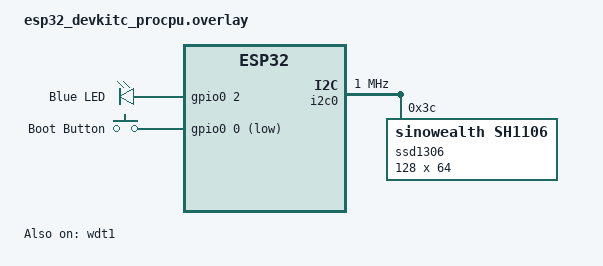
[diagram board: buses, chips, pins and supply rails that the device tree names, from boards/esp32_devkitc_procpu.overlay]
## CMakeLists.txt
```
# SPDX-License-Identifier: Apache-2.0

# Define the minimum CMake version required by the Zephyr SDK
cmake_minimum_required(VERSION 3.20.0)

set(ESP_FLASH_BEFORE default_reset)
set(ESP_FLASH_AFTER hard_reset)

# Locate and load the Zephyr build system package
find_package(Zephyr REQUIRED HINTS $ENV{ZEPHYR_BASE})

# Define the project name
project(Wake-On-Lan_ESP32C3_Zephyr)

# Source File Discovery: Automatically gathers all '.c' files in 'src'.
# This allows for a modular project structure without manual file listing.
FILE(GLOB app_sources src/*.c)

# Application Target: Links the discovered source files.
target_sources(app PRIVATE ${app_sources})

# Include Directory Mapping: Tells the compiler where to look for .h files.
# This enables the use of #include "filename.h" for files inside 'inc'.
target_include_directories(app PRIVATE inc)
```

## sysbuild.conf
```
# Tamanho do MCUboot bootloader: 128KB (0x20000)
# Deve coincidir com o slot0_partition address no overlay
SB_CONFIG_BOOTLOADER_MCUBOOT=y
SB_CONFIG_MCUBOOT_MODE_OVERWRITE_ONLY=y
```

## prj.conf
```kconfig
# --- General ---
CONFIG_EVENTS=y
CONFIG_THREAD_NAME=y
CONFIG_REBOOT=y
CONFIG_WATCHDOG=y

# --- Networking ---
CONFIG_NETWORKING=y
CONFIG_NET_IPV4=y
CONFIG_NET_UDP=y
CONFIG_NET_TCP=y
CONFIG_NET_SOCKETS=y
CONFIG_NET_MAX_CONN=10
CONFIG_NET_MAX_CONTEXTS=10
CONFIG_NET_L2_WIFI_MGMT=y
CONFIG_NET_MGMT=y
CONFIG_NET_MGMT_EVENT=y
CONFIG_NET_IPV4_AUTO=n
CONFIG_NET_DHCPV4=y

# --- Wi-Fi ---
CONFIG_WIFI=y
CONFIG_WIFI_ESP32=y
CONFIG_WIFI_INIT_PRIORITY=60

# --- Storage (NVS Flash) ---
CONFIG_FLASH=y
CONFIG_FLASH_MAP=y
CONFIG_NVS=y
CONFIG_FLASH_PAGE_LAYOUT=y

# --- Hardware ---
CONFIG_GPIO=y
CONFIG_I2C=y
CONFIG_DISPLAY=y
CONFIG_SSD1306=y
CONFIG_CHARACTER_FRAMEBUFFER=y

# --- HEAD / STACK ---
CONFIG_LOG_BUFFER_SIZE=1024
CONFIG_LOG_PROCESS_THREAD_STACK_SIZE=1536
CONFIG_NET_MGMT_EVENT_STACK_SIZE=1024
CONFIG_NET_TCP_WORKQ_STACK_SIZE=512
CONFIG_MAIN_STACK_SIZE=4096
CONFIG_SYSTEM_WORKQUEUE_STACK_SIZE=2048
CONFIG_HEAP_MEM_POOL_SIZE=65536
CONFIG_ISR_STACK_SIZE=32768
CONFIG_NET_RX_STACK_SIZE=4096
CONFIG_NET_TX_STACK_SIZE=4096

# --- DEBUG ---
CONFIG_LOG=y
#CONFIG_CONSOLE=n
#CONFIG_UART_CONSOLE=n
CONFIG_THREAD_ANALYZER=y
CONFIG_THREAD_ANALYZER_AUTO=y
CONFIG_THREAD_ANALYZER_AUTO_INTERVAL=30
```

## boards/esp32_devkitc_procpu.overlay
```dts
#include <zephyr/dt-bindings/i2c/i2c.h>
#include <zephyr/dt-bindings/input/input-event-codes.h>

/ {
	/* Manter os Aliases idênticos ao código C */
	aliases {
		sw0 = &user_button;
		led0 = &blue_led;
	};

	chosen {
		zephyr,display = &ssd1306;
		zephyr,flash-controller = &flash;
	};

	cpus {
		#address-cells = <1>;
		#size-cells = <0>;

		cpu0: cpu@0 {
			device_type = "cpu";
			compatible = "espressif,xtensa-lx6";
			reg = <0>;
			clock-frequency = <240000000>;
		};

		cpu1: cpu@1 {
			device_type = "cpu";
			compatible = "espressif,xtensa-lx6";
			reg = <1>;
			clock-frequency = <240000000>;
		};
	};

	clock: clock {
		compatible = "espressif,esp32-clock";
		status = "okay";
		#clock-cells = <1>;
		fast-clk-src = <1>; 
		slow-clk-src = <0>;
	};

	leds {
		compatible = "gpio-leds";
		
		blue_led: led_0 {
			gpios = <&gpio0 2 GPIO_ACTIVE_HIGH>;
			label = "Blue LED";
		};
	};

	buttons {
		compatible = "gpio-keys";
		user_button: button_0 {
			gpios = <&gpio0 0 (GPIO_PULL_UP | GPIO_ACTIVE_LOW)>;
			label = "Boot Button";
		};
	};
};

&gpio0 { status = "okay"; };
&gpio1 { status = "okay"; };
&wdt1 { status = "okay"; };

&i2c0 {
	status = "okay";
	clock-frequency = <I2C_BITRATE_FAST_PLUS>;
	pinctrl-0 = <&i2c0_default>;
	pinctrl-names = "default";

	ssd1306: ssd1306@3c {
		compatible = "sinowealth,sh1106";
		reg = <0x3c>;
		width = <128>;
		height = <64>;
		segment-offset = <2>;
		page-offset = <0>;
		display-offset = <0>;
		multiplex-ratio = <63>;
		prechargep = <0xf1>;
		ready-time-ms = <10>;
		segment-remap;
		com-invdir;
	};
};

&pinctrl {
	i2c0_default: i2c0_default {
		group1 {
			pinmux = <I2C0_SDA_GPIO21>, <I2C0_SCL_GPIO22>;
			bias-pull-up;
			drive-open-drain;
			output-high;
		};
	};
};

&flash0 {
	partitions {
		compatible = "fixed-partitions";
		#address-cells = <1>;
		#size-cells = <1>;

		nvs_storage: partition@3f0000 {
			label = "nvs_storage";
			reg = <0x3f0000 0x00010000>;
		};
	};
};
```

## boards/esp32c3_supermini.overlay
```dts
#include <zephyr/dt-bindings/i2c/i2c.h>

/ {
	#address-cells = <1>;
	#size-cells = <1>;

	chosen {
		zephyr,display = &ssd1306;
		zephyr,flash-controller = &flash;
		zephyr,code-partition = &slot0_partition;
		zephyr,storage = &storage_partition;
	};

	cpus {
		cpu0: cpu@0 {
			device_type = "cpu";
			compatible = "espressif,riscv";
			reg = <0>;
			clock-frequency = <160000000>;
			xtal-freq = <40000000>;
		};
	};

	clock: clock {
		compatible = "espressif,esp32-clock";
		status = "okay";
		#clock-cells = <1>;
		fast-clk-src = <1>; 
		slow-clk-src = <0>;
	};
	
	aliases {
		sw0 = &user_button;
	};

	leds {
		compatible = "gpio-leds";
		
		blue_led: led_0 {
			gpios = <&gpio0 8 GPIO_ACTIVE_LOW>;
			label = "Blue LED";
		};
	};

	buttons {
		compatible = "gpio-keys";
		user_button: button_0 {
			gpios = <&gpio0 9 (GPIO_PULL_UP | GPIO_ACTIVE_LOW)>;
			label = "Boot Button";
		};
	};
};

&wdt1 {
    status = "okay";
};

&i2c0 {
	status = "okay";
	clock-frequency = <I2C_BITRATE_STANDARD>;

	ssd1306: ssd1306@3c {
		compatible = "solomon,ssd1306fb";
		status = "okay";
		reg = <0x3c>;
		width = <72>;
		height = <40>;
		segment-offset = <28>;
		page-offset = <0>;
		display-offset = <0>;
		multiplex-ratio = <39>;
		segment-remap;
		com-invdir;
		prechargep = <0x22>;
	};
};

&pinctrl {
	i2c0_default: i2c0_default {
		group1 {
			pinmux = <I2C0_SDA_GPIO5>, <I2C0_SCL_GPIO6>;
			bias-pull-up;
			drive-open-drain;
			output-high;
		};
	};
};
```

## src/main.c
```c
#include <zephyr/kernel.h>
#include <zephyr/drivers/watchdog.h>
#include <zephyr/sys/reboot.h>
#include <zephyr/dfu/mcuboot.h>
#include <stdio.h>

#include "storage.h"
#include "notify.h"
#include "button.h"
#include "wifi.h"
#include "portal.h"
#include "display.h"

#define FACTORY_RESET_THRESHOLD     5000
#define WDT_TIMEOUT_MS              3000

int main(void) {
    k_msleep(1000);

    /*
     * Confirmação de boot MCUboot.
     * Se este boot foi resultado de um OTA, confirma que o novo firmware
     * arrancou com sucesso — impede o rollback automático para a versão anterior.
     * Se não foi um boot pós-OTA, esta chamada é um no-op seguro.
     */
    boot_write_img_confirmed();

    const struct device *wdt_dev = DEVICE_DT_GET(DT_NODELABEL(wdt1));
    char ssid[32], pass[64], mac[18], pc_ip[INET_ADDRSTRLEN];
    int rc;

    /* 1. Hardware and Subsystem Initialization */
    storage_init();
    notify_init();
    button_init();

    int wdt_channel = -1;
    if (device_is_ready(wdt_dev)) {
        struct wdt_timeout_cfg wdt_config = {
            .window.max = WDT_TIMEOUT_MS,
            .flags      = WDT_FLAG_RESET_SOC
        };
        wdt_channel = wdt_install_timeout(wdt_dev, &wdt_config);
        wdt_setup(wdt_dev, WDT_OPT_PAUSE_HALTED_BY_DBG);
    }

    printf("\n--- Wake-on-LAN ESP32-C3 SuperMini ---\n");

    /* 2. Flow Decision */
    rc = storage_read_config(ssid, pass, mac, pc_ip);

    if (rc == 0 && strlen(ssid) > 0 && strlen(mac) == 17) {
        printf("[SYSTEM] Config loaded. Starting Station mode...\n");
        k_msleep(2000);
        wifi_init_and_connect(ssid, pass, mac, pc_ip);
    } else {
        if (rc == 0) {
            printf("[SYSTEM] Invalid config in Flash. Clearing...\n");
            storage_clear_all();
        }
        printf("[SYSTEM] Starting Captive Portal...\n");
        start_portal();
    }

    /* Alimenta o WDT uma vez após display+wifi inicializados */
    if (wdt_channel >= 0) wdt_feed(wdt_dev, wdt_channel);

    while (1) {
        if (!has_ip) {
            /* Factory Reset enquanto aguarda ligação Wi-Fi */
            if (button_is_pressed()) {
                printf("[SYSTEM] FACTORY RESET ACTIVATED!\n");
                storage_clear_all();
                notify_event(NOTIFY_WOL_SENT);
                k_msleep(1000);
                sys_reboot(SYS_REBOOT_COLD);
            }
        }

        /* Só alimenta o WDT se o display arrancou com sucesso.
           Se display_ready == false o WDT expira em ~3s e reinicia. */
        if (display_ready) {
            if (wdt_channel >= 0) wdt_feed(wdt_dev, wdt_channel);
        }

        k_msleep(1500);
    }

    return 0;
}
```

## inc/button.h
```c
#ifndef BUTTON_H
#define BUTTON_H

/**
 * @brief Initializes the BOOT button GPIO and its interrupts.
 */
void button_init(void);

#endif /* BUTTON_H */
```

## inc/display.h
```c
#ifndef DISPLAY_H
#define DISPLAY_H

#include <zephyr/kernel.h>
#include <zephyr/device.h>
#include <zephyr/drivers/display.h>
#include <zephyr/display/cfb.h>
#include <zephyr/net/net_ip.h>
#include <stdio.h>
#include <string.h>
#include <stdbool.h>
#include <zephyr/sys/reboot.h>
 
/* Semáforo para arrancar a thread do display (dado por wifi.c / portal.c) */
extern struct k_sem sem_display_start;
 
/* Semáforo de confirmação: display inicializado com sucesso (dado por display.c) */
extern struct k_sem sem_display_ready;
 
/* Semáforo para forçar refresh imediato do display */
extern struct k_sem sem_ui_refresh;
 
/* true = display inicializou com sucesso
   false = falhou — main.c para de alimentar o WDT e o sistema reinicia */
extern bool display_ready;
 
extern bool display_station_ready;
extern bool has_ip;
 
/* State flags */
extern bool display_ap_mode;
extern bool display_wifi_ready;
 
#endif /* DISPLAY_H */
 
```

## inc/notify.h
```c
#ifndef NOTIFY_H
#define NOTIFY_H

#include <zephyr/kernel.h>
#include <zephyr/drivers/gpio.h>

/* Notification types */
typedef enum {
    NOTIFY_WOL_SENT,   /* 2 Blinks (500ms ON) */
    NOTIFY_PING_UPDATE /* 1 Blink  (500ms ON) */
} notify_type_t;

/**
 * @brief Initialize GPIO for the Blue LED and Display synchronization.
 */
void notify_init(void);

/**
 * @brief Trigger a visual notification (LED + Display Signal).
 * @param type The event type (WOL or PING).
 */
void notify_event(notify_type_t type);

#endif /* NOTIFY_H */
```

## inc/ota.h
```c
#ifndef OTA_H
#define OTA_H

#include <zephyr/kernel.h>
#include <stdbool.h>

/* Versão atual do firmware — alterar a cada build antes de gerar o .bin */
#define FIRMWARE_VERSION "1.0.0"

/* URLs do GitHub (raw) para verificar e descarregar o firmware */
#define OTA_GITHUB_HOST    "raw.githubusercontent.com"
#define OTA_GITHUB_PORT    443
#define OTA_INDEX_URL      "/sergio-isidoro/Wake-On-Lan_ESP32C3_Zephyr/main/OTA/latest.txt"
#define OTA_BIN_URL_PREFIX "/sergio-isidoro/Wake-On-Lan_ESP32C3_Zephyr/main/OTA/"

/**
 * @brief Verifica se existe uma versão mais recente no GitHub e,
 *        se sim, descarrega e instala automaticamente.
 *        Chama sys_reboot() no final se a atualização for bem sucedida.
 */
void ota_check_and_update(void);

#endif /* OTA_H */
```

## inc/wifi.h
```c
#ifndef WIFI_H
#define WIFI_H

#include <zephyr/kernel.h>
#include <zephyr/net/net_if.h>
#include <zephyr/net/net_mgmt.h>
#include <zephyr/net/wifi.h>
#include <zephyr/net/wifi_mgmt.h>
#include <zephyr/net/net_core.h>
#include <zephyr/net/net_ip.h>
#include <zephyr/net/socket.h>
#include <zephyr/net/icmp.h>
#include <stdio.h>
#include <string.h>

extern struct k_sem sem_ui_refresh;
extern char global_ip_str[INET_ADDRSTRLEN];
extern bool last_known_state;

/**
 * @brief Initializes network event callbacks, the WoL worker, and requests Wi-Fi connection.
 */
void wifi_init_and_connect(void);

/**
 * @brief Triggers the Wake-on-LAN Magic Packet transmission.
 */
void trigger_wol(void);

#endif /* WIFI_H */
```

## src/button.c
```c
#include "button.h"
#include "wifi.h"
#include <zephyr/kernel.h>
#include <zephyr/device.h>
#include <zephyr/drivers/gpio.h>
#include <stdio.h>

static const struct gpio_dt_spec button = GPIO_DT_SPEC_GET(DT_ALIAS(sw0), gpios);
static struct gpio_callback button_cb_data;

static void button_pressed(const struct device *dev, struct gpio_callback *cb, uint32_t pins) {
    printf("\nBOOT Button Pressed!\n");
    trigger_wol();
}

void button_init(void) {
    if (!gpio_is_ready_dt(&button)) {
        printf("Error: BOOT button GPIO is not ready.\n");
        return;
    }

    gpio_pin_configure_dt(&button, GPIO_INPUT);
    gpio_pin_interrupt_configure_dt(&button, GPIO_INT_EDGE_TO_ACTIVE);
    gpio_init_callback(&button_cb_data, button_pressed, BIT(button.pin));
    gpio_add_callback(button.port, &button_cb_data);
}
```

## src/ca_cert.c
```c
#include <zephyr/kernel.h>
#include <zephyr/net/tls_credentials.h>

/*
 * Certificado raiz usado pelo GitHub (raw.githubusercontent.com):
 * DigiCert Global Root CA
 *
 * Para atualizar:
 *   openssl s_client -connect raw.githubusercontent.com:443 -showcerts 2>/dev/null \
 *     | openssl x509 -noout -text
 * e substituir pelo certificado raiz da cadeia.
 *
 * Validade: até 2031-11-10
 */
static const unsigned char github_root_ca[] =
"-----BEGIN CERTIFICATE-----\n"
"MIIDrzCCApegAwIBAgIQCDvgVpBCRrGhdWrJWZHHSjANBgkqhkiG9w0BAQUFADBh\n"
"MQswCQYDVQQGEwJVUzEVMBMGA1UEChMMRGlnaUNlcnQgSW5jMRkwFwYDVQQLExB3\n"
"d3cuZGlnaWNlcnQuY29tMSAwHgYDVQQDExdEaWdpQ2VydCBHbG9iYWwgUm9vdCBD\n"
"QTAeFw0wNjExMTAwMDAwMDBaFw0zMTExMTAwMDAwMDBaMGExCzAJBgNVBAYTAlVT\n"
"MRUwEwYDVQQKEwxEaWdpQ2VydCBJbmMxGTAXBgNVBAsTEHd3dy5kaWdpY2VydC5j\n"
"b20xIDAeBgNVBAMTF0RpZ2lDZXJ0IEdsb2JhbCBSb290IENBMIIBIjANBgkqhkiG\n"
"9w0BAQEFAAOCAQ8AMIIBCgKCAQEA4jvhEXLeqKTTo1eqUKKPC3eQyaKl7hLOllsB\n"
"CSDMAZOnTjC3U/dDxGkAV53ijSLdhwZAAIEJzs4bg7/fzTtxRuLWZscFs3YnFo97\n"
"nh6Vfe63SKMI2tavegw5BmV/Sl0fvBf4q77uKNd0f3p4mVmFaG5cIzJLv07A6Fpt\n"
"43C/dxC//AH2hdmoRBBYMql1GNXRor5H4idq9Joz+EkIYIvUX7Q6hL+hqkpMfT7P\n"
"T19sdl6gSzeRntwi5m3OFBqOasv+zbMUZBfHWymeMr/y7vrTC0LUq7dBMtoM1O/4\n"
"gdW7jVg/tRvoSSiicNoxBN33shbyTApOB6jtSj1etX+jkMOvJwIDAQABo2YwZDAS\n"
"BgNVHRMBAf8ECDAGAQH/AgEAMA4GA1UdDwEB/wQEAwIBhjAdBgNVHQ4EFgQUA95Q\n"
"NVbRTLtm8KPiGxvDl7I90VUwHwYDVR0jBBgwFoAUA95QNVbRTLtm8KPiGxvDl7I9\n"
"0VUwDQYJKoZIhvcNAQEFBQADggEBAMucN6pIExIK+t1EnE9SsPTfrgT1eXkIoyQY\n"
"/EsrhMAtudXH/vTBH1jLuG2cenTnmCmrEbXjcKChzUyImZOMkXDiqw8cvpOp/2PV\n"
"5Adg06O/nVsJ8dWO41P0jmP6P6fbtGbfYmbW0W5BjfIttep3Sp+dWOIrWcBAI+0t\n"
"KIJFPnlUkiaY4IBIqDfv8NZ5YBberOgOzW6sRBc4L0na4UU+Krk2U886UAb3LujE\n"
"V0lsMkpE/1+2V8pO04LFqAi9KFBGSmINhxkB6LMdNRsA4o/cFAVFiZKOPMlCEPMo\n"
"hGAEGBFEiPEMSpnQB56GF6GvmFaMfVpakEa5DHkRRCE=\n"
"-----END CERTIFICATE-----\n";

/*
 * Regista o certificado no arranque, antes do Wi-Fi inicializar.
 * Tag 1 corresponde ao tls_tag usado em ota.c.
 */
static int register_github_cert(void) {
    return tls_credential_add(1, TLS_CREDENTIAL_CA_CERTIFICATE,
                              github_root_ca, sizeof(github_root_ca));
}

SYS_INIT(register_github_cert, APPLICATION, CONFIG_APPLICATION_INIT_PRIORITY);
```

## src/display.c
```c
#include "display.h"
#include "wifi.h"

bool display_ap_mode        = false;
bool display_wifi_ready     = false;
bool display_station_ready  = false;
bool has_ip                 = false;

K_MUTEX_DEFINE(display_mutex);
K_SEM_DEFINE(sem_ui_refresh,    0, 1);
K_SEM_DEFINE(sem_display_start, 0, 1);

void display_task_entry(void *p1, void *p2, void *p3) {

    k_sem_take(&sem_display_start, K_FOREVER);

    const struct device *disp = DEVICE_DT_GET(DT_CHOSEN(zephyr_display));

    int retries = 30;
    while (!device_is_ready(disp) && retries-- > 0) {
        k_msleep(100);
    }

    /* ---- STATION MODE: normal loop ---- */
    static char prev_ip[INET_ADDRSTRLEN] = "";
    uint8_t anim_state = 0;

    k_mutex_lock(&display_mutex, K_FOREVER);

        int rc = cfb_framebuffer_init(disp);
        if (rc) {
            printk("[DISPLAY] cfb_framebuffer_init failed: %d\n", rc);
            k_mutex_unlock(&display_mutex);

            return;
        }
        cfb_framebuffer_set_font(disp, 0);
        cfb_framebuffer_invert(disp);

        uint16_t screen_w = cfb_get_display_parameter(disp, CFB_DISPLAY_WIDTH);
        uint8_t f_w, f_h;
        cfb_get_font_size(disp, 0, &f_w, &f_h);

        /* Clear screen before turning display on — avoids showing leftover pixels */
        cfb_framebuffer_clear(disp, false);
        cfb_framebuffer_finalize(disp);
        display_blanking_off(disp);

    k_mutex_unlock(&display_mutex);

    /* ---- AP MODE: static screen ---- */
    if (display_ap_mode) {
        k_mutex_lock(&display_mutex, K_FOREVER);

            const char *line1 = "WOL_ESP";
            const char *line2 = "192.168";
            const char *line3 = ".4.1";

            int x1 = (screen_w - (strlen(line1) * f_w)) / 2;
            int x2 = (screen_w - (strlen(line2) * f_w)) / 2;
            int x3 = (screen_w - (strlen(line3) * f_w)) / 2;

            cfb_print(disp, line1, (x1 < 0) ? 0 : x1, -2);
            cfb_print(disp, line2, (x2 < 0) ? 0 : x2, 13);
            cfb_print(disp, line3, (x3 < 0) ? 0 : x3, 26);

            cfb_framebuffer_finalize(disp);
        k_mutex_unlock(&display_mutex);

        display_wifi_ready = true;                              /* Signal that the display is initialized */

        while (1) { k_sem_take(&sem_ui_refresh, K_FOREVER); }
    }

    while (1) {
        k_sem_take(&sem_ui_refresh, K_MSEC(25));                /* Limit refresh rate to 40 FPS */

        k_mutex_lock(&display_mutex, K_FOREVER);

            /* ANIMATION */
            const char *arrows[] = {
                ">      ", ">>     ", ">>>    ", ">>>>   ",
                ">>>>>  ", ">>>>>> ", ">>>>>>>", " >>>>>>",
                "  >>>>>", "   >>>>", "    >>>", "     >>", "      >"
            };
            int anim_w = 7 * f_w;
            int anim_x = (screen_w - anim_w) / 2;
            cfb_print(disp, "                ", anim_x, 0);
            cfb_print(disp, arrows[anim_state], anim_x, 0);
            anim_state = (anim_state + 1) % 13;

            /* IP ADDRESS (or "Waiting" if not connected yet) */
            has_ip = (strlen(global_ip_str) > 0 && strcmp(global_ip_str, "0.0.0.0") != 0);

            if (!has_ip) {
                /* No IP yet */
                cfb_print(disp, "                ", 0, 12);
                cfb_print(disp, "Waiting", (screen_w - (7 * f_w)) / 2, 12);
                cfb_print(disp, "                ", 0, 26);
                cfb_print(disp, "WIFI", (screen_w - (4 * f_w)) / 2, 26);
                prev_ip[0] = '\0';                                              /* reset so IP re-renders when it arrives */

            } else {
                /* Connected */
                char *short_ip = global_ip_str;
                int dots = 0;
                for (char *p = global_ip_str; *p != '\0'; p++) {
                    if (*p == '.') {
                        dots++;
                        if (dots == 2) { short_ip = p + 1; break; }
                    }
                }

                if (strcmp(short_ip, prev_ip) != 0 || strlen(prev_ip) == 0) {
                    cfb_print(disp, "                ", 0, 12);
                    int ip_x = (screen_w - (strlen(short_ip) * f_w)) / 2;
                    cfb_print(disp, short_ip, (ip_x < 0) ? 0 : ip_x, 12);
                    strncpy(prev_ip, short_ip, sizeof(prev_ip) - 1);
                    prev_ip[sizeof(prev_ip) - 1] = '\0';
                } else {
                    int ip_x = (screen_w - (strlen(prev_ip) * f_w)) / 2;
                    cfb_print(disp, prev_ip, (ip_x < 0) ? 0 : ip_x, 12);
                }

                /* TARGET PC IP */
                char *short_target = target_pc_ip;
                int tdots = 0;
                for (char *p = target_pc_ip; *p != '\0'; p++) {
                    if (*p == '.') {
                        tdots++;
                        if (tdots == 2) { short_target = p + 1; break; }
                    }
                }

                char target_line[20] = "";
                if (last_known_state) {
                    snprintf(target_line, sizeof(target_line), "* %s", short_target);   /* "*" indicates known target IP */
                } else {
                    snprintf(target_line, sizeof(target_line), "x %s", short_target);   /* "x" indicates no known target IP yet */
                }

                int tgt_x = (screen_w - (strlen(target_line) * f_w)) / 2;
                cfb_print(disp, "                ", 0, 26);
                cfb_print(disp, target_line, (tgt_x < 0) ? 0 : tgt_x, 26);
            }

            cfb_framebuffer_finalize(disp);
            
        k_mutex_unlock(&display_mutex);
    }
}

K_THREAD_DEFINE(display_tid, 4096, display_task_entry, NULL, NULL, NULL, 7, 0, 0);
```

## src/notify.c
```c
#include "notify.h"

/* Get LED definition from Devicetree (blue_led must be in your overlay) */
static const struct gpio_dt_spec blue_led = GPIO_DT_SPEC_GET(DT_NODELABEL(blue_led), gpios);

/* External semaphore defined in display.c */
extern struct k_sem sem_ui_refresh;

void notify_init(void) {
    if (!device_is_ready(blue_led.port)) {
        return;
    }
    /* LED is Active Low on SuperMini, ACTIVE_LOW flag in overlay handles it */
    gpio_pin_configure_dt(&blue_led, GPIO_OUTPUT_INACTIVE);
}

void notify_event(notify_type_t type) {
    int blinks = (type == NOTIFY_WOL_SENT) ? 2 : 1;

    /* 1. Signal the Display thread to update immediately */
    k_sem_give(&sem_ui_refresh);

    /* 2. Visual LED Feedback (Blocking the caller thread for the blink duration) */
    for (int i = 0; i < blinks; i++) {
        gpio_pin_set_dt(&blue_led, 1);  /* LED ON */
        k_msleep(500);                  /* Your requested 500ms */
        gpio_pin_set_dt(&blue_led, 0);  /* LED OFF */
        
        if (blinks > 1 && i < (blinks - 1)) {
            k_msleep(200);              /* Gap between blinks */
        }
    }
}
```

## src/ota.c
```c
#include "ota.h"
#include "display.h"

#include <zephyr/kernel.h>
#include <zephyr/net/socket.h>
#include <zephyr/net/tls_credentials.h>
#include <zephyr/net/http/client.h>
#include <zephyr/storage/flash_map.h>
#include <zephyr/dfu/flash_img.h>
#include <zephyr/dfu/mcuboot.h>
#include <zephyr/sys/reboot.h>
#include <string.h>
#include <stdio.h>

/* ------------------------------------------------------------------ */
/*  Internos                                                            */
/* ------------------------------------------------------------------ */

#define OTA_RECV_BUF_SIZE   1024
#define OTA_STACK_SIZE      4096
#define OTA_THREAD_PRIORITY 5
#define OTA_CHECK_INTERVAL  K_HOURS(24)

/* Semáforo para disparar verificação OTA imediata (dado pelo wifi.c) */
K_SEM_DEFINE(sem_ota_trigger, 0, 1);

static char ota_recv_buf[OTA_RECV_BUF_SIZE];

/* ------------------------------------------------------------------ */
/*  Helpers de versão                                                   */
/* ------------------------------------------------------------------ */

/*
 * Compara versões no formato "X.Y.Z".
 * Retorna  1 se remote > local
 * Retorna  0 se igual
 * Retorna -1 se remote < local
 */
static int version_compare(const char *local, const char *remote) {
    int lmaj, lmin, lpat, rmaj, rmin, rpat;
    if (sscanf(local,  "%d.%d.%d", &lmaj, &lmin, &lpat) != 3) return -1;
    if (sscanf(remote, "%d.%d.%d", &rmaj, &rmin, &rpat) != 3) return -1;

    if (rmaj != lmaj) return (rmaj > lmaj) ? 1 : -1;
    if (rmin != lmin) return (rmin > lmin) ? 1 : -1;
    if (rpat != lpat) return (rpat > lpat) ? 1 : -1;
    return 0;
}

/*
 * Extrai a versão do nome do ficheiro: "firmware_1.0.1.bin" → "1.0.1"
 * Devolve true se conseguiu extrair.
 */
static bool extract_version_from_filename(const char *filename,
                                           char *out, size_t out_len) {
    /* Formato esperado: firmware_X.Y.Z.bin */
    const char *p = strstr(filename, "firmware_");
    if (!p) return false;
    p += strlen("firmware_");

    const char *end = strstr(p, ".bin");
    if (!end) return false;

    size_t len = (size_t)(end - p);
    if (len == 0 || len >= out_len) return false;

    memcpy(out, p, len);
    out[len] = '\0';
    return true;
}

/* ------------------------------------------------------------------ */
/*  HTTP(S) helpers                                                     */
/* ------------------------------------------------------------------ */

/*
 * Abre socket TCP para OTA_GITHUB_HOST:443.
 * TLS está configurado com CONFIG_NET_SOCKETS_SOCKOPT_TLS e
 * certificado raiz adicionado via TLS credentials (ver prj.conf).
 * Retorna fd >= 0 em caso de sucesso, negativo em erro.
 */
static int ota_connect(void) {
    struct zsock_addrinfo hints = {
        .ai_family   = AF_INET,
        .ai_socktype = SOCK_STREAM,
    };
    struct zsock_addrinfo *res = NULL;
    char port_str[8];
    snprintf(port_str, sizeof(port_str), "%d", OTA_GITHUB_PORT);

    int err = zsock_getaddrinfo(OTA_GITHUB_HOST, port_str, &hints, &res);
    if (err || !res) {
        printk("[OTA] DNS failed: %d\n", err);
        return -1;
    }

    int fd = zsock_socket(res->ai_family, res->ai_socktype, IPPROTO_TLS_1_2);
    if (fd < 0) {
        printk("[OTA] Socket error: %d\n", errno);
        zsock_freeaddrinfo(res);
        return -1;
    }

    /* Verificação TLS do servidor */
    int verify = TLS_PEER_VERIFY_REQUIRED;
    zsock_setsockopt(fd, SOL_TLS, TLS_PEER_VERIFY, &verify, sizeof(verify));

    /* Tag do certificado raiz (definida em prj.conf + cert registado no arranque) */
    sec_tag_t tls_tag = 1;
    zsock_setsockopt(fd, SOL_TLS, TLS_SEC_TAG_LIST, &tls_tag, sizeof(tls_tag));

    /* Hostname para SNI */
    zsock_setsockopt(fd, SOL_TLS, TLS_HOSTNAME,
                     OTA_GITHUB_HOST, strlen(OTA_GITHUB_HOST));

    /* Timeout de receção: 10s */
    struct zsock_timeval tv = { .tv_sec = 10, .tv_usec = 0 };
    zsock_setsockopt(fd, SOL_SOCKET, SO_RCVTIMEO, &tv, sizeof(tv));

    if (zsock_connect(fd, res->ai_addr, res->ai_addrlen) < 0) {
        printk("[OTA] Connect failed: %d\n", errno);
        zsock_close(fd);
        zsock_freeaddrinfo(res);
        return -1;
    }

    zsock_freeaddrinfo(res);
    return fd;
}

/*
 * Envia um GET e devolve ponteiro para o início do corpo HTTP (após \r\n\r\n).
 * Preenche buf com os dados recebidos.
 * Retorna NULL em caso de erro.
 */
static char *ota_http_get(int fd, const char *path, char *buf, size_t buf_len) {
    char req[512];
    int req_len = snprintf(req, sizeof(req),
        "GET %s HTTP/1.1\r\n"
        "Host: %s\r\n"
        "Connection: close\r\n"
        "User-Agent: WOL-ESP32C3/1.0\r\n"
        "\r\n",
        path, OTA_GITHUB_HOST);

    if (zsock_send(fd, req, req_len, 0) < 0) {
        printk("[OTA] Send failed: %d\n", errno);
        return NULL;
    }

    int total = 0;
    while (total < (int)buf_len - 1) {
        int n = zsock_recv(fd, buf + total, buf_len - 1 - total, 0);
        if (n <= 0) break;
        total += n;
    }
    buf[total] = '\0';

    /* Localiza o fim dos headers */
    char *body = strstr(buf, "\r\n\r\n");
    if (!body) return NULL;
    return body + 4;
}

/* ------------------------------------------------------------------ */
/*  Passo 1: verificar versão disponível                               */
/* ------------------------------------------------------------------ */

/*
 * Lê latest.txt do GitHub. Formato do ficheiro:
 *   firmware_1.0.1.bin
 *
 * Preenche remote_version ("1.0.1") e remote_filename ("firmware_1.0.1.bin").
 * Retorna true se encontrou versão mais recente que FIRMWARE_VERSION.
 */
static bool ota_fetch_latest(char *remote_version, size_t rv_len,
                              char *remote_filename, size_t rf_len) {
    int fd = ota_connect();
    if (fd < 0) return false;

    char *body = ota_http_get(fd, OTA_INDEX_URL, ota_recv_buf, sizeof(ota_recv_buf));
    zsock_close(fd);

    if (!body) {
        printk("[OTA] Failed to get latest.txt\n");
        return false;
    }

    /* Remove espaços/newlines do final */
    char *end = body + strlen(body) - 1;
    while (end > body && (*end == '\n' || *end == '\r' || *end == ' ')) {
        *end-- = '\0';
    }

    printk("[OTA] latest.txt: '%s'\n", body);

    /* Copia nome do ficheiro */
    strncpy(remote_filename, body, rf_len - 1);
    remote_filename[rf_len - 1] = '\0';

    /* Extrai versão do nome */
    if (!extract_version_from_filename(remote_filename, remote_version, rv_len)) {
        printk("[OTA] Cannot parse version from '%s'\n", remote_filename);
        return false;
    }

    printk("[OTA] Remote version: %s | Local version: %s\n",
           remote_version, FIRMWARE_VERSION);

    return (version_compare(FIRMWARE_VERSION, remote_version) == 1);
}

/* ------------------------------------------------------------------ */
/*  Passo 2: descarregar e gravar no slot secundário                   */
/* ------------------------------------------------------------------ */

static bool ota_download_and_flash(const char *filename) {
    char url_path[256];
    snprintf(url_path, sizeof(url_path), "%s%s", OTA_BIN_URL_PREFIX, filename);

    printk("[OTA] Downloading: https://%s%s\n", OTA_GITHUB_HOST, url_path);

    /* Abre slot secundário do MCUboot */
    const struct flash_area *fa;
    if (flash_area_open(FIXED_PARTITION_ID(slot1_partition), &fa) != 0) {
        printk("[OTA] Cannot open secondary slot\n");
        return false;
    }

    /* Apaga o slot secundário */
    if (flash_area_erase(fa, 0, fa->fa_size) != 0) {
        printk("[OTA] Erase failed\n");
        flash_area_close(fa);
        return false;
    }

    struct flash_img_context ctx;
    if (flash_img_init_id(&ctx, FIXED_PARTITION_ID(slot1_partition)) != 0) {
        printk("[OTA] flash_img_init failed\n");
        flash_area_close(fa);
        return false;
    }

    /* Download em stream — nova ligação pois a anterior já fechou */
    int fd = ota_connect();
    if (fd < 0) {
        flash_area_close(fa);
        return false;
    }

    /* Envia o pedido GET para o .bin */
    char req[512];
    int req_len = snprintf(req, sizeof(req),
        "GET %s HTTP/1.1\r\n"
        "Host: %s\r\n"
        "Connection: close\r\n"
        "User-Agent: WOL-ESP32C3/1.0\r\n"
        "\r\n",
        url_path, OTA_GITHUB_HOST);
    zsock_send(fd, req, req_len, 0);

    /* Salta headers HTTP */
    bool headers_done = false;
    size_t bytes_written = 0;
    bool success = false;
    int leftover_len = 0;
    char leftover[OTA_RECV_BUF_SIZE];

    while (1) {
        int n = zsock_recv(fd, ota_recv_buf, sizeof(ota_recv_buf) - 1, 0);
        if (n <= 0) break;
        ota_recv_buf[n] = '\0';

        const char *data = ota_recv_buf;
        int data_len = n;

        if (!headers_done) {
            /* Procura \r\n\r\n neste chunk (pode estar dividido) */
            char combined[OTA_RECV_BUF_SIZE * 2];
            int combined_len = leftover_len + n;
            memcpy(combined, leftover, leftover_len);
            memcpy(combined + leftover_len, ota_recv_buf, n);
            combined[combined_len] = '\0';

            char *body_start = strstr(combined, "\r\n\r\n");
            if (body_start) {
                headers_done = true;
                body_start += 4;
                data = body_start;
                data_len = combined_len - (int)(body_start - combined);
            } else {
                /* Guarda para combinar com o próximo chunk */
                int keep = (combined_len > (int)sizeof(leftover) - 1)
                           ? (int)sizeof(leftover) - 1 : combined_len;
                memcpy(leftover, combined + combined_len - keep, keep);
                leftover_len = keep;
                continue;
            }
        }

        if (data_len > 0) {
            if (flash_img_buffered_write(&ctx, (const uint8_t *)data,
                                         data_len, false) != 0) {
                printk("[OTA] Flash write error at byte %zu\n", bytes_written);
                goto done;
            }
            bytes_written += data_len;

            if ((bytes_written % (64 * 1024)) == 0) {
                printk("[OTA] Written %zu KB...\n", bytes_written / 1024);
            }
        }
    }

    /* Flush final */
    if (flash_img_buffered_write(&ctx, NULL, 0, true) != 0) {
        printk("[OTA] Final flush error\n");
        goto done;
    }

    printk("[OTA] Download complete: %zu bytes written\n", bytes_written);
    success = (bytes_written > 0);

done:
    zsock_close(fd);
    flash_area_close(fa);
    return success;
}

/* ------------------------------------------------------------------ */
/*  Passo 3: solicitar swap ao MCUboot e reiniciar                     */
/* ------------------------------------------------------------------ */

static void ota_apply(void) {
    printk("[OTA] Requesting MCUboot upgrade...\n");

    if (boot_request_upgrade(BOOT_UPGRADE_PERMANENT) != 0) {
        printk("[OTA] boot_request_upgrade failed!\n");
        return;
    }

    printk("[OTA] Rebooting to apply update...\n");
    k_msleep(500);
    sys_reboot(SYS_REBOOT_COLD);
}

/* ------------------------------------------------------------------ */
/*  Função pública — chamada pelo wifi.c após ligar                    */
/* ------------------------------------------------------------------ */

void ota_check_and_update(void) {
    char remote_version[16];
    char remote_filename[64];

    printk("[OTA] Checking for updates (local: %s)...\n", FIRMWARE_VERSION);

    if (!ota_fetch_latest(remote_version, sizeof(remote_version),
                          remote_filename, sizeof(remote_filename))) {
        printk("[OTA] No update available or check failed.\n");
        return;
    }

    printk("[OTA] New version found: %s — starting download.\n", remote_version);

    if (!ota_download_and_flash(remote_filename)) {
        printk("[OTA] Download/flash failed — aborting.\n");
        return;
    }

    ota_apply();
    /* nunca chega aqui se bem sucedido */
}

/* ------------------------------------------------------------------ */
/*  Thread OTA — verifica logo ao arranque e depois 1x por dia        */
/* ------------------------------------------------------------------ */

static void ota_thread_entry(void *p1, void *p2, void *p3) {
    /* Aguarda o sinal do wifi.c (IP obtido) */
    k_sem_take(&sem_ota_trigger, K_FOREVER);

    while (1) {
        ota_check_and_update();

        /* Aguarda 24h ou novo trigger manual */
        k_sem_take(&sem_ota_trigger, OTA_CHECK_INTERVAL);
    }
}

K_THREAD_DEFINE(ota_tid, OTA_STACK_SIZE,
                ota_thread_entry, NULL, NULL, NULL,
                OTA_THREAD_PRIORITY, 0, 0);
```

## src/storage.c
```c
#include "storage.h"

static struct nvs_fs fs;

/* Usa a storage_partition definida pelo Espressif HAL em 0x3B0000 */
#define STORAGE_NODE DT_NODE_BY_FIXED_PARTITION_LABEL(storage)
#define FLASH_NODE   DT_MTD_FROM_FIXED_PARTITION(STORAGE_NODE)

void storage_init(void) {
    int rc;
    struct flash_pages_info info;
    const struct device *flash_dev = DEVICE_DT_GET(FLASH_NODE);

    if (!device_is_ready(flash_dev)) {
        printk("Error: Flash device not ready\n");
        return;
    }

    fs.flash_device = flash_dev;
    fs.offset = DT_REG_ADDR(STORAGE_NODE);

    rc = flash_get_page_info_by_offs(flash_dev, fs.offset, &info);
    if (rc) {
        printk("Error getting page info (%d)\n", rc);
        return;
    }

    fs.sector_size  = info.size;
    fs.sector_count = 3;

    rc = nvs_mount(&fs);
    if (rc) {
        printk("Error mounting NVS (%d)\n", rc);
    }
}

int storage_write_config(const char *s, const char *p, const char *m, const char *ip) {
    nvs_write(&fs, STORAGE_ID_SSID, s,  strlen(s)  + 1);
    nvs_write(&fs, STORAGE_ID_PASS, p,  strlen(p)  + 1);
    nvs_write(&fs, STORAGE_ID_MAC,  m,  strlen(m)  + 1);
    nvs_write(&fs, STORAGE_ID_IP,   ip, strlen(ip) + 1);
    return 0;
}

int storage_read_config(char *s, char *p, char *m, char *ip) {
    if (nvs_read(&fs, STORAGE_ID_SSID, s, 32) <= 0) return -1;
    nvs_read(&fs, STORAGE_ID_PASS, p,  64);
    nvs_read(&fs, STORAGE_ID_MAC,  m,  18);
    nvs_read(&fs, STORAGE_ID_IP,   ip, INET_ADDRSTRLEN);
    return 0;
}

void storage_clear_all(void) {
    nvs_delete(&fs, STORAGE_ID_SSID);
    nvs_delete(&fs, STORAGE_ID_PASS);
    nvs_delete(&fs, STORAGE_ID_MAC);
    nvs_delete(&fs, STORAGE_ID_IP);
}
```

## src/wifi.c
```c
#include "wifi.h"
#include "notify.h"
#include "storage.h"
#include "ota.h"

#define WOL_PORT    9

extern bool display_wifi_ready;
extern struct k_sem sem_display_start;
extern struct k_sem sem_display_ready;  /* aguarda display inicializado */
extern struct k_sem sem_ota_trigger;    /* dispara verificação OTA */

static bool wifi_connected = false;

/* Variáveis de configuração carregadas da Flash */
static char saved_ssid[32];
static char saved_pass[64];
static char saved_mac_str[18];
static uint8_t target_mac_bin[6];
char target_pc_ip[INET_ADDRSTRLEN] = "255.255.255.255";

/* Variáveis globais para UI/Display */
char global_ip_str[INET_ADDRSTRLEN] = "";
extern struct k_sem sem_ui_refresh;

static struct net_mgmt_event_callback wifi_cb;
static struct net_mgmt_event_callback ipv4_cb;
static struct k_work wol_work;
static struct k_work_delayable reconnect_work;

/* --- PING (ICMP) --- */
static struct net_icmp_ctx ping_ctx;
static struct k_work_delayable ping_work;
static volatile bool target_is_online = false;
bool last_known_state = false;
static bool first_ping_done = false;
static uint16_t ping_seq = 0;
static uint8_t ping_attempts = 0;

/* --- MAC PARSE --- */
static void parse_mac_address(const char *mac_str, uint8_t *mac_bin) {
    for (int i = 0; i < 6; i++) {
        char byte_str[3] = { mac_str[i * 3], mac_str[i * 3 + 1], '\0' };
        mac_bin[i] = (uint8_t)strtol(byte_str, NULL, 16);
    }
}

/* --- RECONNECT --- */
static void reconnect_worker(struct k_work *work) {
    struct net_if *iface = net_if_get_default();
    struct wifi_connect_req_params params = {
        .ssid        = (uint8_t *)saved_ssid,
        .ssid_length = strlen(saved_ssid),
        .psk         = (uint8_t *)saved_pass,
        .psk_length  = strlen(saved_pass),
        .channel     = WIFI_CHANNEL_ANY,
        .security    = WIFI_SECURITY_TYPE_PSK,
        .band        = WIFI_FREQ_BAND_2_4_GHZ,
    };
    printk("[WIFI] Reconnecting to %s...\n", saved_ssid);
    net_mgmt(NET_REQUEST_WIFI_CONNECT, iface, &params, sizeof(params));
}

/* --- WAKE-ON-LAN --- */
static void send_wol_worker(struct k_work *work) {
    if (strlen(global_ip_str) == 0 || strcmp(global_ip_str, "0.0.0.0") == 0) {
        printk("[WOL] No IP — WoL cancelled\n");
        return;
    }

    uint8_t pkt[102];
    struct sockaddr_in dest;

    memset(pkt, 0xFF, 6);
    for (int i = 1; i <= 16; i++) {
        memcpy(&pkt[i * 6], target_mac_bin, 6);
    }

    int sock = zsock_socket(AF_INET, SOCK_DGRAM, IPPROTO_UDP);
    if (sock < 0) {
        printk("[WOL] Error creating socket: %d\n", sock);
        return;
    }

    int opt = 1;
    zsock_setsockopt(sock, SOL_SOCKET, SO_BROADCAST, &opt, sizeof(opt));

    dest.sin_family      = AF_INET;
    dest.sin_port        = htons(WOL_PORT);
    dest.sin_addr.s_addr = INADDR_BROADCAST;

    if (zsock_sendto(sock, pkt, sizeof(pkt), 0,
                     (struct sockaddr *)&dest, sizeof(dest)) > 0) {
        printk("[WIFI] WoL Magic Packet Sent to %s\n", saved_mac_str);
        notify_event(NOTIFY_WOL_SENT);
    } else {
        printk("[WOL] Send error: %d\n", errno);
    }

    zsock_close(sock);
}

void trigger_wol(void) {
    k_work_submit(&wol_work);
}

/* --- PING --- */
static int ping_handler(struct net_icmp_ctx *ctx, struct net_pkt *pkt,
                        struct net_icmp_ip_hdr *ip_hdr, struct net_icmp_hdr *icmp_hdr,
                        void *user_data) {
    target_is_online = true;
    return 0;
}

static void ping_worker_handler(struct k_work *work) {
    if (ping_attempts > 0) {
        if (target_is_online) {
            if (!first_ping_done || !last_known_state) {
                last_known_state = true;
                first_ping_done  = true;
                notify_event(NOTIFY_PING_UPDATE);
            }
            ping_attempts = 0;
            k_work_reschedule(&ping_work, K_MINUTES(1));
            return;
        } else if (ping_attempts >= 3) {
            if (!first_ping_done || last_known_state) {
                last_known_state = false;
                first_ping_done  = true;
                notify_event(NOTIFY_PING_UPDATE);
            }
            ping_attempts = 0;
            k_work_reschedule(&ping_work, K_MINUTES(1));
            return;
        }
    }

    target_is_online = false;
    ping_attempts++;

    struct sockaddr_in dest;
    dest.sin_family = AF_INET;
    zsock_inet_pton(AF_INET, target_pc_ip, &dest.sin_addr);

    struct net_icmp_ping_params params = {
        .identifier = 0x1234,
        .sequence   = ping_seq++,
    };

    net_icmp_send_echo_request(&ping_ctx, net_if_get_default(),
                               (struct sockaddr *)&dest, &params, NULL);
    k_work_reschedule(&ping_work, K_SECONDS(1));
}

/* --- CALLBACKS --- */
static void handle_wifi_events(struct net_mgmt_event_callback *cb,
                                uint64_t mgmt_event, struct net_if *iface) {
    if (mgmt_event == NET_EVENT_WIFI_CONNECT_RESULT) {
        wifi_connected = true;
        printk("[WIFI] Connected!\n");
        net_dhcpv4_start(iface);
    }

    if (mgmt_event == NET_EVENT_WIFI_DISCONNECT_RESULT) {
        if (!wifi_connected) return;
        wifi_connected = false;
        printk("[WIFI] Disconnected — reconnecting in 3s...\n");
        net_dhcpv4_stop(iface);
        last_known_state = false;
        global_ip_str[0] = '\0';
        k_sem_give(&sem_ui_refresh);
        k_work_reschedule(&reconnect_work, K_SECONDS(3));
    }
}

static void handle_ipv4_events(struct net_mgmt_event_callback *cb,
                                uint64_t mgmt_event, struct net_if *iface) {
    if (mgmt_event == NET_EVENT_IPV4_ADDR_ADD) {
        struct net_if_ipv4 *ipv4 = iface->config.ip.ipv4;
        if (!ipv4) return;

        for (int i = 0; i < NET_IF_MAX_IPV4_ADDR; i++) {
            struct net_if_addr *addr = &ipv4->unicast[i].ipv4;
            if (addr->is_used && addr->addr_state == NET_ADDR_PREFERRED) {
                zsock_inet_ntop(AF_INET,
                    &ipv4->unicast[i].ipv4.address.in_addr,
                    global_ip_str, sizeof(global_ip_str));
                k_sem_give(&sem_ui_refresh);
                k_work_reschedule(&ping_work, K_NO_WAIT);
                /* Dispara verificação OTA após obter IP */
                k_sem_give(&sem_ota_trigger);
                break;
            }
        }
    }
}

/* --- WI-FI INITIALIZATION --- */
void wifi_init_and_connect(const char *ssid, const char *pass, const char *mac, const char *pc_ip) {
    strncpy(saved_ssid,    ssid, sizeof(saved_ssid) - 1);
    saved_ssid[sizeof(saved_ssid) - 1] = '\0';

    strncpy(saved_pass,    pass, sizeof(saved_pass) - 1);
    saved_pass[sizeof(saved_pass) - 1] = '\0';

    strncpy(saved_mac_str, mac,  sizeof(saved_mac_str) - 1);
    saved_mac_str[sizeof(saved_mac_str) - 1] = '\0';

    strncpy(target_pc_ip, pc_ip, sizeof(target_pc_ip) - 1);
    target_pc_ip[sizeof(target_pc_ip) - 1] = '\0';

    parse_mac_address(saved_mac_str, target_mac_bin);

    k_work_init(&wol_work, send_wol_worker);
    k_work_init_delayable(&ping_work, ping_worker_handler);
    k_work_init_delayable(&reconnect_work, reconnect_worker);
    net_icmp_init_ctx(&ping_ctx, AF_INET, NET_ICMPV4_ECHO_REPLY, 0, ping_handler);

    net_mgmt_init_event_callback(&wifi_cb, handle_wifi_events,
                              NET_EVENT_WIFI_CONNECT_RESULT |
                              NET_EVENT_WIFI_DISCONNECT_RESULT);
    net_mgmt_add_event_callback(&wifi_cb);

    net_mgmt_init_event_callback(&ipv4_cb, handle_ipv4_events,
                                  NET_EVENT_IPV4_ADDR_ADD);
    net_mgmt_add_event_callback(&ipv4_cb);

    struct net_if *iface = net_if_get_default();
    struct wifi_connect_req_params params = {
        .ssid        = (uint8_t *)saved_ssid,
        .ssid_length = strlen(saved_ssid),
        .psk         = (uint8_t *)saved_pass,
        .psk_length  = strlen(saved_pass),
        .channel     = WIFI_CHANNEL_ANY,
        .security    = WIFI_SECURITY_TYPE_PSK,
        .band        = WIFI_FREQ_BAND_2_4_GHZ,
    };

    /* 1. Acorda a thread do display */
    k_sem_give(&sem_display_start);

    /* 2. Aguarda confirmação que o display inicializou com sucesso.
          Se o display falhar, esta linha bloqueia para sempre —
          a main.c para de alimentar o WDT e o sistema reinicia. */
    printk("[WIFI] Aguardando display...\n");
    k_sem_take(&sem_display_ready, K_FOREVER);
    printk("[WIFI] Display OK — iniciando ligação Wi-Fi.\n");

    /* 3. Só agora começa o Wi-Fi */
    printf("[WIFI] Connecting to %s...\n", saved_ssid);
    net_mgmt(NET_REQUEST_WIFI_CONNECT, iface, &params, sizeof(params));
}
```
